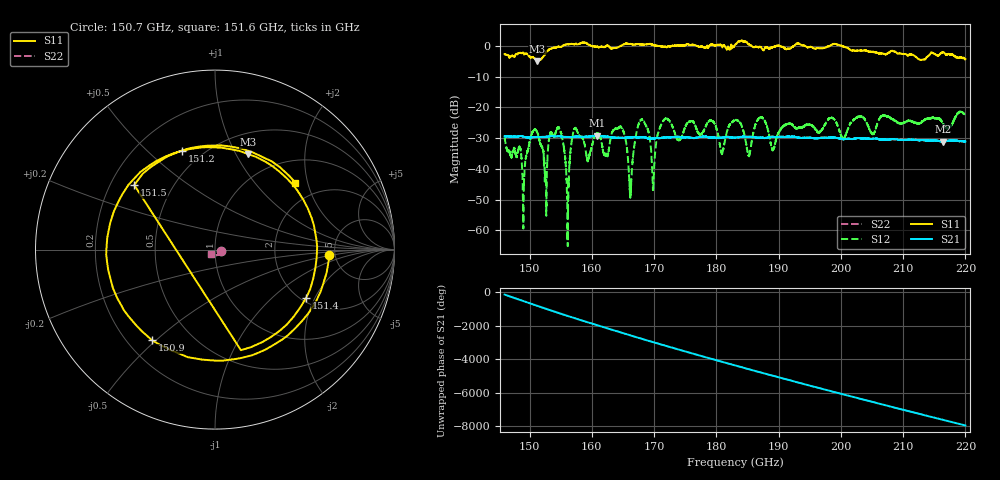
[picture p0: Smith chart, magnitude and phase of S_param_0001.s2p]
# GHz S RI R 50.0
!freq ReS11 ImS11 ReS21 ImS21 ReS12 ImS12 ReS22 ImS22
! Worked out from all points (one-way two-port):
!   8001 points, 146 GHz to 220 GHz, reference 50 ohm
!   highest |S21| = -29.16 dB at 160.9 GHz (marker M1); lowest = -31.1 dB at 216.4 GHz (marker M2)
!   lowest |S11| = -5.0 dB at 151.2 GHz (marker M3), VSWR 3.57, Z = 36.2 + j56.2 ohm
!   |S11| at or under -10 dB: nowhere
!   |S22| runs from -31.1 to -29.2 dB; largest |S21 - S12| = 0.11
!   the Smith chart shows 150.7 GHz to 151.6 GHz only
!   S11 on the Smith chart (normalised r, x): 150.7 GHz: 4.48, -0.41; 150.9 GHz: 0.30, -0.48; 151.2 GHz: 0.39, +0.65; 151.4 GHz: 2.14, -1.71; 151.5 GHz: 0.30, +0.32; 151.6 GHz: 1.49, +1.68
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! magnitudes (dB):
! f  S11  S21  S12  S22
! 146 GHz  -2.7  -29.4  -29.8  -29.4
! 149.1 GHz  -2.5  -29.5  -49.3  -29.5
! 150.7 GHz  -3.9  -29.6  -27.4  -29.6
! 150.9 GHz  -4.2  -29.6  -27.2  -29.6
! 151.2 GHz  -4.7  -29.6  -27.9  -29.6
! 151.2 GHz  -5.0  -29.7  -28.1  -29.7
! 151.4 GHz  -4.8  -29.6  -29.1  -29.6
! 151.5 GHz  -4.8  -29.7  -30.0  -29.7
! 151.6 GHz  -4.7  -29.7  -30.9  -29.7
! 154.8 GHz  -0.4  -29.4  -27.0  -29.4
! 156.1 GHz  0.5  -29.6  -58.1  -29.6
! 158.3 GHz  0.9  -29.6  -29.6  -29.6
! 160.9 GHz  -0.3  -29.2  -28.5  -29.2
! 164.8 GHz  0.1  -29.9  -26.6  -29.9
! 166.2 GHz  0.6  -29.8  -48.1  -29.8
! 167.7 GHz  0.5  -29.7  -24.4  -29.7
! 170.7 GHz  -0.1  -30.0  -28.2  -30.0
! 183 GHz  0.3  -29.9  -24.2  -29.9
! 195.3 GHz  -0.5  -29.9  -25.8  -29.9
! 207.7 GHz  -2.2  -30.5  -23.1  -30.5
! 216.4 GHz  -2.0  -31.1  -25.3  -31.1
! 220 GHz  -4.3  -31.1  -22.5  -31.1
